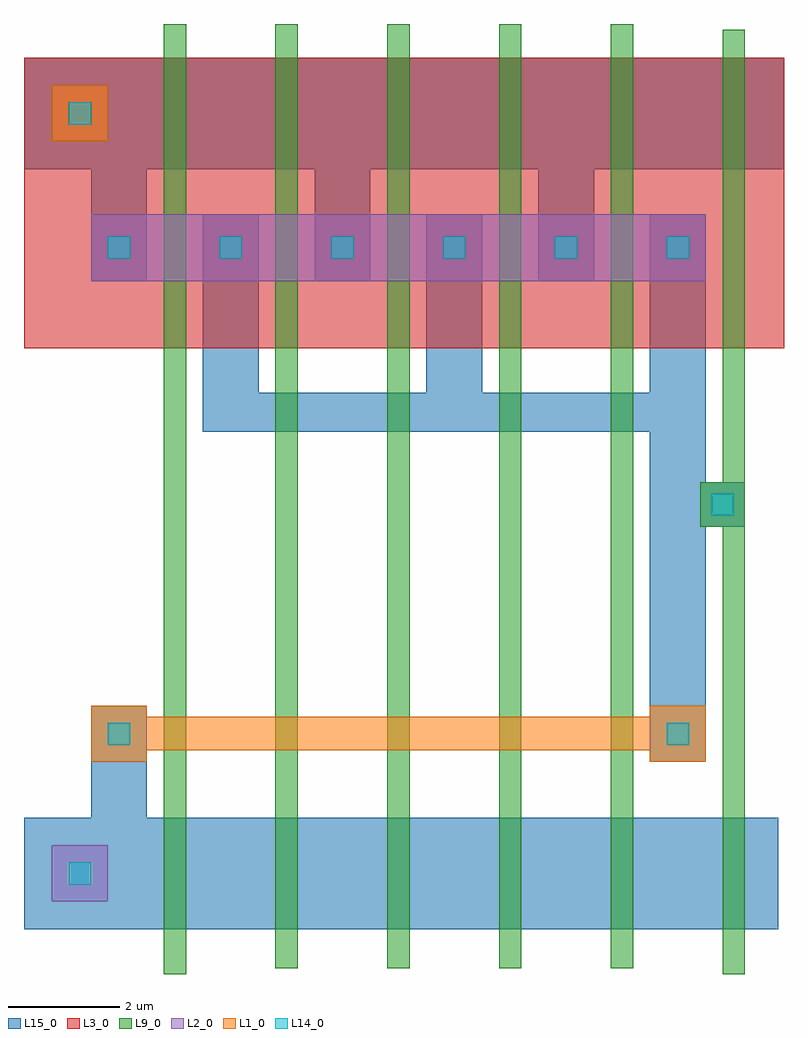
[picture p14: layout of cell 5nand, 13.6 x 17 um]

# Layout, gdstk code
import gdstk
lib = gdstk.Library(unit=1e-6, precision=1e-09)
def R(c, l, rs):  # rectangles x0, y0, x1, y1
    for r in rs: c.add(gdstk.rectangle(r[:2], r[2:], *l))
def A(c, l, x, y, w, h, nx, ny, dx, dy):  # array of equal rectangles
    R(c, l, [(x+i*dx, y+j*dy, x+i*dx+w, y+j*dy+h) for i in range(nx) for j in range(ny)])
def P(c, l, *ps):  # polygons
    for p in ps: c.add(gdstk.Polygon(p, *l))
L1_0 = (1, 0)
L2_0 = (2, 0)
L3_0 = (3, 0)
L9_0 = (9, 0)
L14_0 = (14, 0)
L15_0 = (15, 0)

c_5nand = lib.new_cell('5nand')
R(c_5nand, L1_0, [(-11.7,1.2,-10.7,2.2)])
P(c_5nand, L1_0, [(-11,-8.9),(-11,-9.9),(-10,-9.9),(-10,-9.7),(-1,-9.7),(-1,-9.9),(0,-9.9),(0,-8.9),(-1,-8.9),(-1,-9.1),(-10,-9.1),(-10,-8.9)])
R(c_5nand, L2_0, [(-11.7,-12.4,-10.7,-11.4), (-11,-1.3,0,-0.1)])
R(c_5nand, L3_0, [(-12.2,-2.5,1.4,2.7)])
A(c_5nand, L9_0, -7.7, -13.6, 0.4, 16.9, 4, 1, 2, 0)
R(c_5nand, L9_0, [(-9.7,-13.7,-9.3,3.3)])
P(c_5nand, L9_0, [(0.7,-13.7),(0.7,3.2),(0.3,3.2),(0.3,-4.9),(-0.1,-4.9),(-0.1,-5.7),(0.3,-5.7),(0.3,-13.7)])
A(c_5nand, L14_0, -10.7, -0.9, 0.4, 0.4, 6, 1, 2, 0)
R(c_5nand, L14_0, [(-11.4,-12.1,-11,-11.7), (-10.7,-9.6,-10.3,-9.2), (-0.7,-9.6,-0.3,-9.2), (0.1,-5.5,0.5,-5.1), (-11.4,1.5,-11,1.9)])
P(c_5nand, L15_0, [(-10,-10.9),(-10,-8.9),(-11,-8.9),(-11,-10.9),(-12.2,-10.9),(-12.2,-12.9),(1.3,-12.9),(1.3,-10.9)],
  [(1.4,0.7),(1.4,2.7),(-12.2,2.7),(-12.2,0.7),(-11,0.7),(-11,-1.3),(-10,-1.3),(-10,0.7),(-7,0.7),(-7,-1.3),(-6,-1.3),(-6,0.7),(-3,0.7),(-3,-1.3),(-2,-1.3),(-2,0.7)],
  [(-1,-3.3),(-4,-3.3),(-4,-0.1),(-5,-0.1),(-5,-3.3),(-8,-3.3),(-8,-0.1),(-9,-0.1),(-9,-4),(-1,-4),(-1,-9.9),(0,-9.9),(0,-5.7),(0.7,-5.7),(0.7,-4.9),(0,-4.9),(0,-0.1),(-1,-0.1)])

lib.write_gds('5nand.gds')
